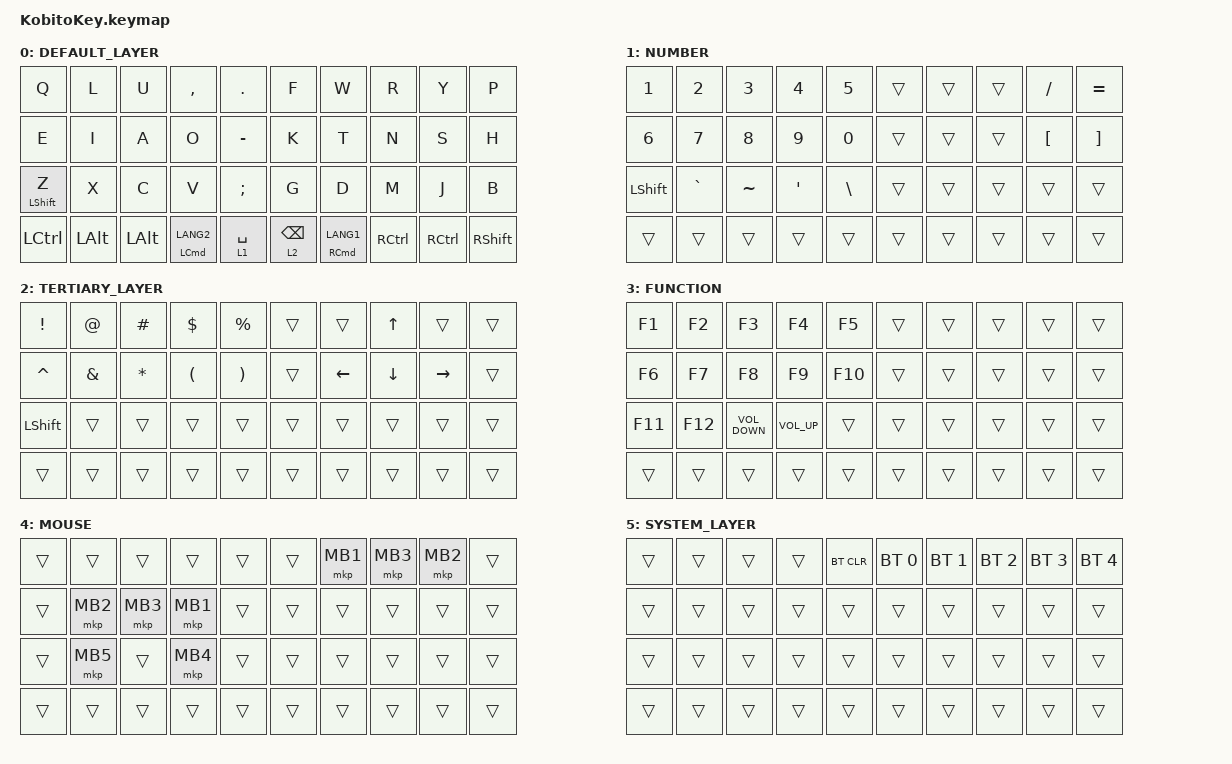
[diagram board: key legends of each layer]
#include <input/processors.dtsi>
#include <behaviors.dtsi>
#include <dt-bindings/zmk/bt.h>
#include <dt-bindings/zmk/keys.h>
#include <dt-bindings/zmk/pointing.h>

&mt { quick-tap-ms = <200>; };

&lt { quick-tap-ms = <200>; };

/ {
    combos {
        compatible = "zmk,combos";

        combo_esc {
            timeout-ms = <50>;
            key-positions = <0 1>;
            bindings = <&kp ESC>;
        };

        combo_tab {
            timeout-ms = <50>;
            key-positions = <10 11>;
            bindings = <&kp TAB>;
        };

        COMBO_ENTER {
            bindings = <&kp ENTER>;
            key-positions = <36 35>;
            timeout-ms = <50>;
        };

        COMBO_R_SHIFT {
            bindings = <&kp RIGHT_SHIFT>;
            key-positions = <28 29>;
            timeout-ms = <50>;
        };

        COMBO_MO_BT_LAYER {
            bindings = <&mo 3>;
            key-positions = <35 9>;
            timeout-ms = <50>;
        };
    };

    keymap {
        compatible = "zmk,keymap";

        /* レイヤー0: デフォルトレイヤー */

        DEFAULT_LAYER {
            bindings = <
&kp Q             &kp L         &kp U         &kp COMMA               &kp DOT      &kp F            &kp W                    &kp R      &kp Y              &kp P
&kp E             &kp I         &kp A         &kp O                   &kp MINUS    &kp K            &kp T                    &kp N      &kp S              &kp H
&mt LEFT_SHIFT Z  &kp X         &kp C         &kp V                   &kp SEMI     &kp G            &kp D                    &kp M      &kp J              &kp B
&kp LCTRL         &kp LEFT_ALT  &kp LEFT_ALT  &mt LEFT_COMMAND LANG2  &lt 1 SPACE  &lt 2 BACKSPACE  &mt RIGHT_COMMAND LANG1  &kp RCTRL  &kp RIGHT_CONTROL  &kp RIGHT_SHIFT
            >;
        };

        /* レイヤー1: 数字 */

        SECONDARY_LAYER {
            label = "NUMBER";
            bindings = <
&kp N1          &kp N2     &kp N3     &kp N4   &kp N5         &trans  &trans  &trans  &kp SLASH         &kp EQUAL
&kp N6          &kp N7     &kp N8     &kp N9   &kp N0         &trans  &trans  &trans  &kp LEFT_BRACKET  &kp RIGHT_BRACKET
&kp LEFT_SHIFT  &kp GRAVE  &kp TILDE  &kp SQT  &kp BACKSLASH  &trans  &trans  &trans  &trans            &trans
&trans          &trans     &trans     &trans   &trans         &trans  &trans  &trans  &trans            &trans
            >;
        };

        /* レイヤー2: 記号 + 矢印 */

        TERTIARY_LAYER {
            bindings = <
&kp EXCLAMATION  &kp AT         &kp HASH      &kp DOLLAR            &kp PERCENT            &trans  &trans          &kp UP_ARROW    &trans           &trans
&kp CARET        &kp AMPERSAND  &kp ASTERISK  &kp LEFT_PARENTHESIS  &kp RIGHT_PARENTHESIS  &trans  &kp LEFT_ARROW  &kp DOWN_ARROW  &kp RIGHT_ARROW  &trans
&kp LEFT_SHIFT   &trans         &trans        &trans                &trans                 &trans  &trans          &trans          &trans           &trans
&trans           &trans         &trans        &trans                &trans                 &trans  &trans          &trans          &trans           &trans
            >;
        };

        /* レイヤー3: システム */

        FUNCTION_LAYER {
            label = "FUNCTION";
            bindings = <
&kp F1   &kp F2   &kp F3             &kp F4           &kp F5   &trans  &trans  &trans  &trans  &trans
&kp F6   &kp F7   &kp F8             &kp F9           &kp F10  &trans  &trans  &trans  &trans  &trans
&kp F11  &kp F12  &kp C_VOLUME_DOWN  &kp C_VOLUME_UP  &trans   &trans  &trans  &trans  &trans  &trans
&trans   &trans   &trans             &trans           &trans   &trans  &trans  &trans  &trans  &trans
            >;
        };

        /* レイヤー4: マウス */

        MOUSE_LAYER {
            label = "MOUSE";
            bindings = <
&trans  &trans    &trans    &trans    &trans  &trans  &mkp MB1  &mkp MB3  &mkp MB2  &trans
&trans  &mkp MB2  &mkp MB3  &mkp MB1  &trans  &trans  &trans    &trans    &trans    &trans
&trans  &mkp MB5  &trans    &mkp MB4  &trans  &trans  &trans    &trans    &trans    &trans
&trans  &trans    &trans    &trans    &trans  &trans  &trans    &trans    &trans    &trans
            >;
        };

        SYSTEM_LAYER {
            bindings = <
&trans  &trans  &trans  &trans  &bt BT_CLR  &bt BT_SEL 0  &bt BT_SEL 1  &bt BT_SEL 2  &bt BT_SEL 3  &bt BT_SEL 4
&trans  &trans  &trans  &trans  &trans      &trans        &trans        &trans        &trans        &trans
&trans  &trans  &trans  &trans  &trans      &trans        &trans        &trans        &trans        &trans
&trans  &trans  &trans  &trans  &trans      &trans        &trans        &trans        &trans        &trans
            >;
        };
    };

    conditional_layers {
        compatible = "zmk,conditional-layers";

        Cond_System_Layer {
            if-layers = <1 2>;
            then-layer = <5>;
        };
    };
};
